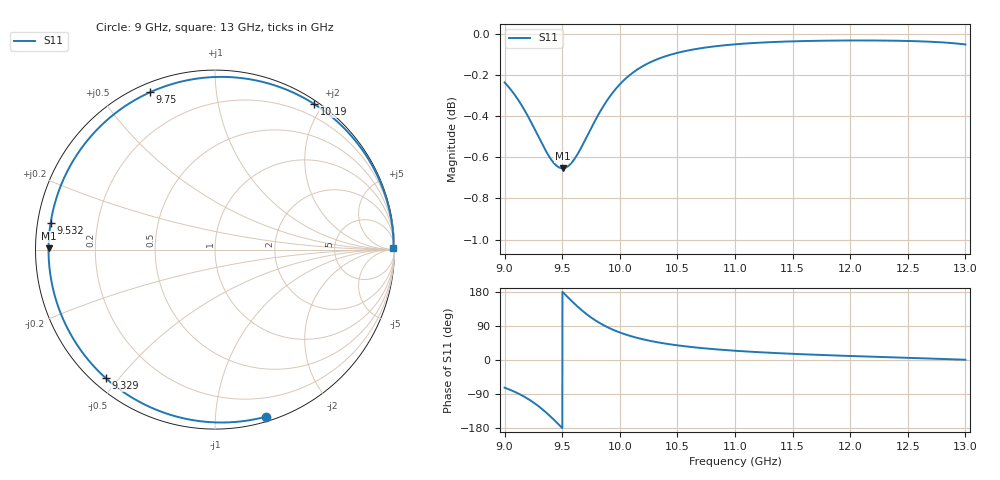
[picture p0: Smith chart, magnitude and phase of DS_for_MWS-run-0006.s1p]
! TOUCHSTONE file generated by CST DESIGN STUDIO
! Date and time: Tue Feb  4 14:25:33 2025
! Project name: C:\Work\MatlabApps\UnitCellOptimizationMatlab\CST\unitcell.cst
! Tree item: Tasks\Sweep1\SPara1\S-Parameters
! Header version: 2024
! Port assignment regex: !\s*Touchstone port\s*([0-9]+)\s*=\s*(CST MWS port|CST DES external port|CST DES block port)\s*(.+)\s* \(\"(.*)\"\)(\s*mode\s*([0-9]+))?.*
! Touchstone port assignment:
! Touchstone port 1 = CST DES external port 1 ("")
# GHz S MA R 50
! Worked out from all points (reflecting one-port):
!   4001 points, 9 GHz to 13 GHz, reference 50 ohm
!   lowest |S11| = -0.7 dB at 9.503 GHz (marker M1), VSWR 26.60, Z = 1.88 + j0.171 ohm
!   phase of S11 starts at -73 deg and turns -286 deg over the sweep
!   S11 on the Smith chart (normalised r, x): 9 GHz: 0.04, -1.35; 9.329 GHz: 0.04, -0.46; 9.532 GHz: 0.04, +0.08; 9.75 GHz: 0.04, +0.67; 10.19 GHz: 0.04, +1.89; 13 GHz: open
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9  0.9732 -73.1
9.088  0.9664 -84.0
9.191  0.9562 -100.4
9.263  0.9478 -114.8
9.329  0.9399 -130.4
9.375  0.9348 -142.5
9.423  0.9306 -156.2
9.462  0.9284 -167.8
9.5  0.9275 -179.5
9.503  0.9275 179.6
9.532  0.9279 170.7
9.585  0.9306 154.8
9.645  0.9361 137.9
9.697  0.9421 124.5
9.75  0.9484 112.4
9.801  0.9544 102.1
9.857  0.9603 92.2
10  0.9721 72.6
10.088  0.9773 63.7
10.185  0.9816 55.8
10.329  0.986 46.7
10.5  0.9894 38.7
10.722  0.9922 31.1
11  0.9942 24.4
11.5  0.9958 16.3
12  0.9963 10.6
12.5  0.996 5.8
13  0.9941 0.6
